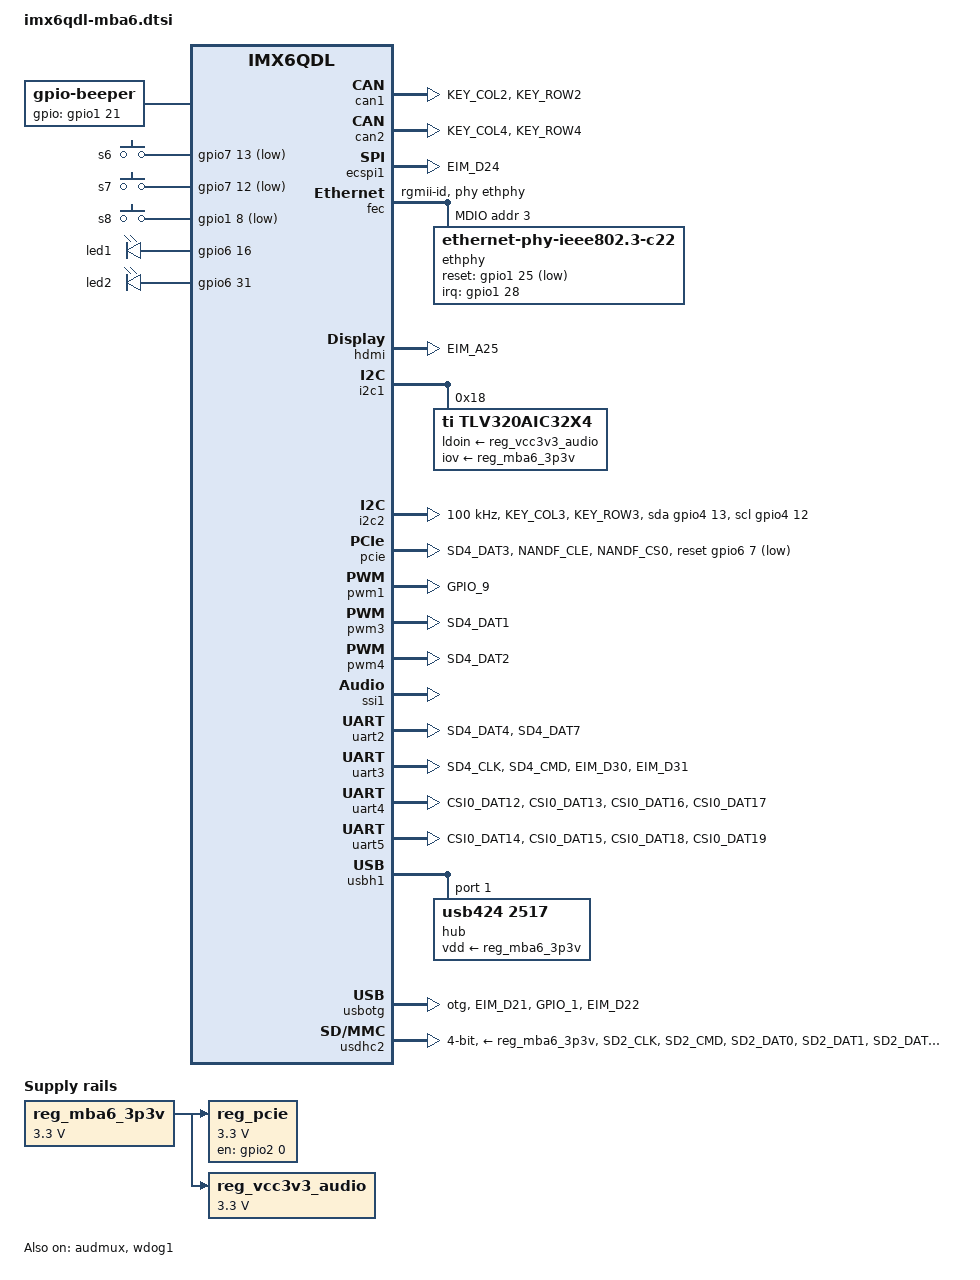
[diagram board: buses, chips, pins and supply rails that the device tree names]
// SPDX-License-Identifier: GPL-2.0-only
/*
 * Copyright 2013 Sascha Hauer, Pengutronix
 *
 * Copyright 2013-2021 TQ-Systems GmbH
 * Author: Markus Niebel <Markus.Niebel@tq-group.com>
 */

#include <dt-bindings/clock/imx6qdl-clock.h>
#include <dt-bindings/gpio/gpio.h>
#include <dt-bindings/input/input.h>
#include <dt-bindings/sound/fsl-imx-audmux.h>

/ {
	aliases {
		mmc0 = &usdhc3;
		mmc1 = &usdhc2;
		/delete-property/ mmc2;
		/delete-property/ mmc3;
		rtc0 = &rtc0;
	};

	chosen {
		stdout-path = &uart2;
	};

	beeper: gpio-beeper {
		compatible = "gpio-beeper";
		pinctrl-names = "default";
		pinctrl-0 = <&pinctrl_gpiobeeper>;
		gpios = <&gpio1 21 GPIO_ACTIVE_HIGH>;
	};

	gpio_buttons: gpio-buttons {
		compatible = "gpio-keys";
		pinctrl-names = "default";
		pinctrl-0 = <&pinctrl_gpiobuttons>;

		button-1 {
			label = "s6";
			linux,code = <KEY_F6>;
			gpios = <&gpio7 13 GPIO_ACTIVE_LOW>;
			wakeup-source;
		};

		button-2 {
			label = "s7";
			linux,code = <KEY_F7>;
			gpios = <&gpio7 12 GPIO_ACTIVE_LOW>;
			wakeup-source;
		};

		button-3 {
			label = "s8";
			linux,code = <KEY_F8>;
			gpios = <&gpio1 8 GPIO_ACTIVE_LOW>;
			wakeup-source;
		};
	};

	gpio-leds {
		compatible = "gpio-leds";
		pinctrl-names = "default";
		pinctrl-0 = <&pinctrl_gpioled>;

		led1 {
			label = "led1";
			gpios = <&gpio6 16 GPIO_ACTIVE_HIGH>;
			linux,default-trigger = "default-on";
		};

		led2 {
			label = "led2";
			gpios = <&gpio6 31 GPIO_ACTIVE_HIGH>;
			linux,default-trigger = "heartbeat";
		};
	};

	reg_mba6_3p3v: regulator-mba6-3p3v {
		compatible = "regulator-fixed";
		regulator-name = "supply-mba6-3p3v";
		regulator-min-microvolt = <3300000>;
		regulator-max-microvolt = <3300000>;
		regulator-always-on;
	};

	reg_pcie: regulator-pcie {
		compatible = "regulator-fixed";
		pinctrl-names = "default";
		pinctrl-0 = <&pinctrl_regpcie>;
		regulator-name = "supply-pcie";
		regulator-min-microvolt = <3300000>;
		regulator-max-microvolt = <3300000>;
		/* PCIE.PWR_EN */
		gpio = <&gpio2 0 GPIO_ACTIVE_HIGH>;
		enable-active-high;
		regulator-always-on;
		vin-supply = <&reg_mba6_3p3v>;
	};

	reg_vcc3v3_audio: regulator-vcc3v3-audio {
		compatible = "regulator-fixed";
		regulator-name = "vcc3v3-audio";
		regulator-min-microvolt = <3300000>;
		regulator-max-microvolt = <3300000>;
		vin-supply = <&reg_mba6_3p3v>;
	};

	reserved-memory {
		#address-cells = <1>;
		#size-cells = <1>;
		ranges;

		linux,cma {
			compatible = "shared-dma-pool";
			reusable;
			size = <0x14000000>;
			alloc-ranges = <0x10000000 0x20000000>;
			linux,cma-default;
		};
	};

	sound {
		compatible = "fsl,imx-audio-tlv320aic32x4";
		pinctrl-names = "default";
		pinctrl-0 = <&pinctrl_audmux>;
		model = "imx-audio-tlv320aic32x4";
		ssi-controller = <&ssi1>;
		audio-codec = <&tlv320aic32x4>;
		audio-asrc = <&asrc>;
		audio-routing =
			"IN3_L", "Mic Jack",
			"Mic Jack", "Mic Bias",
			"IN1_L", "Line In Jack",
			"IN1_R", "Line In Jack",
			"Line Out Jack", "LOL",
			"Line Out Jack", "LOR";
		mux-int-port = <1>;
		mux-ext-port = <3>;
	};
};

&audmux {
	status = "okay";

	mux-ssi0 {
		fsl,audmux-port = <MX31_AUDMUX_PORT1_SSI0>;
		fsl,port-config = <
			(IMX_AUDMUX_V2_PTCR_SYN |
				IMX_AUDMUX_V2_PTCR_TFSDIR |
				IMX_AUDMUX_V2_PTCR_TFSEL(MX31_AUDMUX_PORT3_SSI_PINS_3) |
				IMX_AUDMUX_V2_PTCR_TCLKDIR |
				IMX_AUDMUX_V2_PTCR_TCSEL(MX31_AUDMUX_PORT3_SSI_PINS_3))
			IMX_AUDMUX_V2_PDCR_RXDSEL(MX31_AUDMUX_PORT3_SSI_PINS_3)
		>;
	};

	mux-aud3 {
		fsl,audmux-port = <MX31_AUDMUX_PORT3_SSI_PINS_3>;
		fsl,port-config = <
			IMX_AUDMUX_V2_PTCR_SYN
			IMX_AUDMUX_V2_PDCR_RXDSEL(MX31_AUDMUX_PORT1_SSI0)
		>;
	};
};

&can1 {
	pinctrl-names = "default";
	pinctrl-0 = <&pinctrl_can1>;
	status = "okay";
};

&can2 {
	pinctrl-names = "default";
	pinctrl-0 = <&pinctrl_can2>;
	status = "okay";
};

&ecspi1 {
	pinctrl-names = "default";
	pinctrl-0 = <&pinctrl_ecspi1>, <&pinctrl_ecspi1_mba6>;
	cs-gpios = <&gpio3 19 0>, <&gpio3 24 0>;
};

&fec {
	phy-mode = "rgmii-id";
	phy-handle = <&ethphy>;
	mac-address = [00 00 00 00 00 00];
	status = "okay";

	mdio {
		#address-cells = <1>;
		#size-cells = <0>;

		ethphy: ethernet-phy@3 {
			compatible = "ethernet-phy-ieee802.3-c22";
			reg = <3>;
			interrupt-parent = <&gpio1>;
			interrupts = <28 IRQ_TYPE_LEVEL_LOW>;
			reset-gpios = <&gpio1 25 GPIO_ACTIVE_LOW>;
			reset-assert-us = <1000>;
			reset-deassert-us = <100000>;
			micrel,force-master;
			max-speed = <1000>;
		};
	};
};

&hdmi {
	pinctrl-names = "default";
	pinctrl-0 = <&pinctrl_hdmi>;
	ddc-i2c-bus = <&i2c2>;
	status = "okay";
};

&i2c1 {
	tlv320aic32x4: audio-codec@18 {
		compatible = "ti,tlv320aic32x4";
		reg = <0x18>;
		clocks = <&clks IMX6QDL_CLK_CKO>;
		clock-names = "mclk";
		pinctrl-names = "default";
		pinctrl-0 = <&pinctrl_codec>;
		ldoin-supply = <&reg_vcc3v3_audio>;
		iov-supply = <&reg_mba6_3p3v>;
	};
};

/* DDC */
&i2c2 {
	clock-frequency = <100000>;
	pinctrl-names = "default", "gpio";
	pinctrl-0 = <&pinctrl_i2c2>;
	pinctrl-1 = <&pinctrl_i2c2_recovery>;
	scl-gpios = <&gpio4 12 (GPIO_ACTIVE_HIGH | GPIO_OPEN_DRAIN)>;
	sda-gpios = <&gpio4 13 (GPIO_ACTIVE_HIGH | GPIO_OPEN_DRAIN)>;
	status = "okay";
};

&pcie {
	pinctrl-names = "default";
	pinctrl-0 = <&pinctrl_pcie>;
	reset-gpio = <&gpio6 7 GPIO_ACTIVE_LOW>;
	vpcie-supply = <&reg_pcie>;
	status = "okay";
};

&pwm1 {
	pinctrl-names = "default";
	pinctrl-0 = <&pinctrl_pwm1>;
	status = "okay";
};

&pwm3 {
	pinctrl-names = "default";
	pinctrl-0 = <&pinctrl_pwm3>;
	status = "okay";
};

&pwm4 {
	pinctrl-names = "default";
	pinctrl-0 = <&pinctrl_pwm4>;
	status = "okay";
};

&snvs_poweroff {
	status = "okay";
};

&ssi1 {
	status = "okay";
};

&uart2 {
	pinctrl-names = "default";
	pinctrl-0 = <&pinctrl_uart2>;
	status = "okay";
};

&uart3 {
	pinctrl-names = "default";
	pinctrl-0 = <&pinctrl_uart3>;
	uart-has-rtscts;
	status = "okay";
};

&uart4 {
	pinctrl-names = "default";
	pinctrl-0 = <&pinctrl_uart4>;
	uart-has-rtscts;
	linux,rs485-enabled-at-boot-time;
	rs485-rts-active-low;
	rs485-rx-during-tx;
	status = "okay";
};

&uart5 {
	pinctrl-names = "default";
	pinctrl-0 = <&pinctrl_uart5>;
	uart-has-rtscts;
	status = "okay";
};

&usbh1 {
	disable-over-current;
	status = "okay";
	#address-cells = <1>;
	#size-cells = <0>;

	hub@1 {
		compatible = "usb424,2517";
		reg = <1>;
		#address-cells = <1>;
		#size-cells = <0>;
		vdd-supply = <&reg_mba6_3p3v>;

		ethernet@1 {
			compatible = "usb424,9e00";
			reg = <1>;
			nvmem-cells = <&mba_mac_address>;
			nvmem-cell-names = "mac-address";
		};
	};
};

&usbotg {
	pinctrl-names = "default";
	pinctrl-0 = <&pinctrl_usbotg>;
	power-active-high;
	over-current-active-low;
	srp-disable;
	hnp-disable;
	adp-disable;
	dr_mode = "otg";
	status = "okay";
};

/* SD card slot */
&usdhc2 {
	pinctrl-names = "default";
	pinctrl-0 = <&pinctrl_usdhc2>;
	vmmc-supply = <&reg_mba6_3p3v>;
	bus-width = <4>;
	no-1-8-v;
	no-mmc;
	no-sdio;
	cd-gpios = <&gpio1 4 GPIO_ACTIVE_LOW>;
	wp-gpios = <&gpio1 2 GPIO_ACTIVE_HIGH>;
	status = "okay";
};

&wdog1 {
	pinctrl-names = "default";
	pinctrl-0 = <&pinctrl_wdog1>;
	/* does not work on unmodified starter kit */
	/* fsl,ext-reset-output; */
	status = "okay";
};

&iomuxc {
	pinctrl-names = "default";
	pinctrl-0 = <&pinctrl_hog>;

	pinctrl_audmux: audmuxgrp {
		fsl,pins = <
			MX6QDL_PAD_CSI0_DAT7__AUD3_RXD  0x1b0b0
			MX6QDL_PAD_CSI0_DAT4__AUD3_TXC  0x1b0b0
			MX6QDL_PAD_CSI0_DAT5__AUD3_TXD  0x1b0b0
			MX6QDL_PAD_CSI0_DAT6__AUD3_TXFS 0x1b0b0
		>;
	};

	pinctrl_can1: can1grp {
		fsl,pins = <
			MX6QDL_PAD_KEY_COL2__FLEXCAN1_TX 0xb099
			MX6QDL_PAD_KEY_ROW2__FLEXCAN1_RX 0xb099
		>;
	};

	pinctrl_can2: can2grp {
		fsl,pins = <
			MX6QDL_PAD_KEY_COL4__FLEXCAN2_TX 0xb099
			MX6QDL_PAD_KEY_ROW4__FLEXCAN2_RX 0xb099
		>;
	};

	pinctrl_codec: codecgrp {
		fsl,pins = <
			MX6QDL_PAD_CSI0_MCLK__CCM_CLKO1 0xb0 /* CLK */
		>;
	};

	pinctrl_ecspi1_mba6: ecspimba6grp {
		fsl,pins = <
			MX6QDL_PAD_EIM_D24__GPIO3_IO24 0xb099 /* eCSPI1 SS2 */
		>;
	};

	pinctrl_enet: enetgrp {
		fsl,pins = <
			/* FEC phy IRQ */
			MX6QDL_PAD_ENET_TX_EN__GPIO1_IO28     0x00011008
			/* FEC phy reset */
			MX6QDL_PAD_ENET_CRS_DV__GPIO1_IO25   0x1b099
			/* DSE = 100, 100k up, SPEED = MED */
			MX6QDL_PAD_ENET_MDIO__ENET_MDIO       0xb0a0
			MX6QDL_PAD_ENET_MDC__ENET_MDC         0xb0a0
			/* DSE = 111, pull 100k up */
			MX6QDL_PAD_RGMII_TXC__RGMII_TXC       0xb038
			MX6QDL_PAD_RGMII_TD0__RGMII_TD0       0xb038
			MX6QDL_PAD_RGMII_TD1__RGMII_TD1       0xb038
			MX6QDL_PAD_RGMII_TD2__RGMII_TD2       0xb038
			MX6QDL_PAD_RGMII_TD3__RGMII_TD3       0xb038
			MX6QDL_PAD_RGMII_TX_CTL__RGMII_TX_CTL 0xb038
			/* DSE = 111, pull external */
			MX6QDL_PAD_RGMII_RXC__RGMII_RXC       0x0038
			MX6QDL_PAD_RGMII_RD0__RGMII_RD0       0x0038
			MX6QDL_PAD_RGMII_RD1__RGMII_RD1       0x0038
			MX6QDL_PAD_RGMII_RD2__RGMII_RD2       0x0038
			MX6QDL_PAD_RGMII_RD3__RGMII_RD3       0x0038
			MX6QDL_PAD_RGMII_RX_CTL__RGMII_RX_CTL 0x0038
			/* HYS = 1, DSE = 111, 100k up, SPEED = HIGH */
			MX6QDL_PAD_ENET_REF_CLK__ENET_TX_CLK  0x1b0f0
		>;
	};

	pinctrl_gpiobeeper: gpiobeepergrp {
		fsl,pins = <
			MX6QDL_PAD_SD1_DAT3__GPIO1_IO21 0xb099
		>;
	};

	pinctrl_gpiobuttons: gpiobuttongrp {
		fsl,pins = <
			MX6QDL_PAD_GPIO_17__GPIO7_IO12 0x0001b099
			MX6QDL_PAD_GPIO_18__GPIO7_IO13 0x0001b099
			MX6QDL_PAD_GPIO_8__GPIO1_IO08 0x0001b099
		>;
	};

	pinctrl_gpioled: gpioledgrp {
		fsl,pins = <
			MX6QDL_PAD_NANDF_CS3__GPIO6_IO16 0xb099 /* LED V15 */
			MX6QDL_PAD_EIM_BCLK__GPIO6_IO31 0xb099 /* LED V16 */
		>;
	};

	pinctrl_hdmi: hdmigrp {
		/* NOTE: DDC is done via I2C2, so DON'T
		 * configure DDC pins for HDMI!
		 */
		fsl,pins = <
			MX6QDL_PAD_EIM_A25__HDMI_TX_CEC_LINE 0x1f8b0
		>;
	};

	pinctrl_hog: hoggrp {
		fsl,pins = <
			MX6QDL_PAD_ENET_RXD1__GPIO1_IO26 0x0001b099
			MX6QDL_PAD_ENET_TXD1__GPIO1_IO29 0x0001b099
			MX6QDL_PAD_ENET_TXD0__GPIO1_IO30 0x0001b099

			MX6QDL_PAD_NANDF_D1__GPIO2_IO01 0x0001b099
			MX6QDL_PAD_NANDF_D2__GPIO2_IO02 0x0001b099
			MX6QDL_PAD_NANDF_D3__GPIO2_IO03 0x0001b099
			MX6QDL_PAD_SD4_DAT0__GPIO2_IO08 0x0001b099
			MX6QDL_PAD_EIM_CS0__GPIO2_IO23 0x0001b099
			MX6QDL_PAD_EIM_CS1__GPIO2_IO24 0x0001b099
			MX6QDL_PAD_EIM_OE__GPIO2_IO25 0x0001b099

			MX6QDL_PAD_EIM_D20__GPIO3_IO20 0x0001b099
			MX6QDL_PAD_EIM_D26__GPIO3_IO26 0x0001b099
			MX6QDL_PAD_EIM_D27__GPIO3_IO27 0x0001b099
			MX6QDL_PAD_EIM_D28__GPIO3_IO28 0x0001b099
			MX6QDL_PAD_EIM_D29__GPIO3_IO29 0x0001b099

			MX6QDL_PAD_KEY_COL0__GPIO4_IO06 0x0001b099
			MX6QDL_PAD_KEY_ROW0__GPIO4_IO07 0x0001b099
			MX6QDL_PAD_KEY_COL1__GPIO4_IO08 0x0001b099
			MX6QDL_PAD_KEY_ROW1__GPIO4_IO09 0x0001b099

			MX6QDL_PAD_CSI0_PIXCLK__GPIO5_IO18 0x0001b099
			MX6QDL_PAD_CSI0_DATA_EN__GPIO5_IO20 0x0001b099
			MX6QDL_PAD_CSI0_VSYNC__GPIO5_IO21 0x0001b099

			MX6QDL_PAD_NANDF_ALE__GPIO6_IO08 0x0001b099
			MX6QDL_PAD_NANDF_CS1__GPIO6_IO14 0x0001b099
		>;
	};

	pinctrl_i2c2: i2c2grp {
		fsl,pins = <
			MX6QDL_PAD_KEY_COL3__I2C2_SCL 0x4001b899
			MX6QDL_PAD_KEY_ROW3__I2C2_SDA 0x4001b899
		>;
	};

	pinctrl_i2c2_recovery: i2c2recoverygrp {
		fsl,pins = <
			MX6QDL_PAD_KEY_COL3__GPIO4_IO12 0x4001b899
			MX6QDL_PAD_KEY_ROW3__GPIO4_IO13 0x4001b899
		>;
	};

	pinctrl_pcie: pciegrp {
		fsl,pins = <
			/* HYS = 1, DSE = 110, 100k up, SPEED = HIGH (11)*/
			MX6QDL_PAD_SD4_DAT3__GPIO2_IO11 0x001b0f0 /* #PCIE.WAKE */
			MX6QDL_PAD_NANDF_CLE__GPIO6_IO07 0x001b0f0 /* #PCIE.RST */
			MX6QDL_PAD_NANDF_CS0__GPIO6_IO11 0x001b0f0 /* #PCIE.DIS */
		>;
	};

	pinctrl_pwm1: pwm1grp {
		fsl,pins = <
			/* 100 k PD, DSE 120 OHM, SPEED LO */
			MX6QDL_PAD_GPIO_9__PWM1_OUT 0x00003050
		>;
	};

	pinctrl_pwm3: pwm3grp {
		fsl,pins = <
			/* 100 k PD, DSE 120 OHM, SPEED LO */
			MX6QDL_PAD_SD4_DAT1__PWM3_OUT 0x00003050
		>;
	};

	pinctrl_pwm4: pwm4grp {
		fsl,pins = <
			/* 100 k PD, DSE 120 OHM, SPEED LO */
			MX6QDL_PAD_SD4_DAT2__PWM4_OUT 0x00003050
		>;
	};

	pinctrl_regpcie: regpciegrp {
		fsl,pins = <
			/* HYS = 1, DSE = 110, PUE+PKE, SPEED = HIGH (11)*/
			MX6QDL_PAD_NANDF_D0__GPIO2_IO00 0x00130f0 /* PCIE.PWR_EN */
		>;
	};

	pinctrl_uart2: uart2grp {
		fsl,pins = <
			MX6QDL_PAD_SD4_DAT4__UART2_RX_DATA 0x1b099
			MX6QDL_PAD_SD4_DAT7__UART2_TX_DATA 0x1b099
		>;
	};

	pinctrl_uart3: uart3grp {
		fsl,pins = <
			MX6QDL_PAD_SD4_CLK__UART3_RX_DATA 0x1b0b1
			MX6QDL_PAD_SD4_CMD__UART3_TX_DATA 0x1b0b1
			MX6QDL_PAD_EIM_D30__UART3_CTS_B   0x1b0b1
			MX6QDL_PAD_EIM_D31__UART3_RTS_B   0x1b0b1
		>;
	};

	pinctrl_uart4: uart4grp {
		fsl,pins = <
			MX6QDL_PAD_CSI0_DAT12__UART4_TX_DATA 0x1b0b1
			MX6QDL_PAD_CSI0_DAT13__UART4_RX_DATA 0x1b0b1
			MX6QDL_PAD_CSI0_DAT16__UART4_RTS_B 0x1b0b1
			MX6QDL_PAD_CSI0_DAT17__UART4_CTS_B 0x1b0b1
		>;
	};

	pinctrl_uart5: uart5grp {
		fsl,pins = <
			MX6QDL_PAD_CSI0_DAT14__UART5_TX_DATA 0x1b0b1
			MX6QDL_PAD_CSI0_DAT15__UART5_RX_DATA 0x1b0b1
			MX6QDL_PAD_CSI0_DAT18__UART5_RTS_B 0x1b0b1
			MX6QDL_PAD_CSI0_DAT19__UART5_CTS_B 0x1b0b1
		>;
	};

	pinctrl_usdhc2: usdhc2grp {
		fsl,pins = <
			/* CLK: 47k Pup SPD_LOW DSE 40Ohm SRE_FAST HYS */
			MX6QDL_PAD_SD2_CLK__SD2_CLK    0x00017071
			/* SD2: 47k Pup SPD_LOW DSE 80Ohm SRE_FAST HYS */
			MX6QDL_PAD_SD2_CMD__SD2_CMD    0x00017059
			MX6QDL_PAD_SD2_DAT0__SD2_DATA0 0x00017059
			MX6QDL_PAD_SD2_DAT1__SD2_DATA1 0x00017059
			MX6QDL_PAD_SD2_DAT2__SD2_DATA2 0x00017059
			MX6QDL_PAD_SD2_DAT3__SD2_DATA3 0x00017059

			MX6QDL_PAD_GPIO_4__GPIO1_IO04  0x0001b099 /* usdhc2 CD */
			MX6QDL_PAD_GPIO_2__GPIO1_IO02  0x0001b099 /* usdhc2 WP */
		>;
	};

	pinctrl_usbotg: usbotggrp {
		fsl,pins = <
			MX6QDL_PAD_EIM_D21__USB_OTG_OC  0x0001b0b0
			MX6QDL_PAD_GPIO_1__USB_OTG_ID   0x00017059
			MX6QDL_PAD_EIM_D22__USB_OTG_PWR 0x0001b099
		>;
	};

	pinctrl_wdog1: wdog1grp {
		fsl,pins = <
			 /* Watchdog out */
			MX6QDL_PAD_SD1_DAT2__WDOG1_B 0x0000b099
		>;
	};
};
